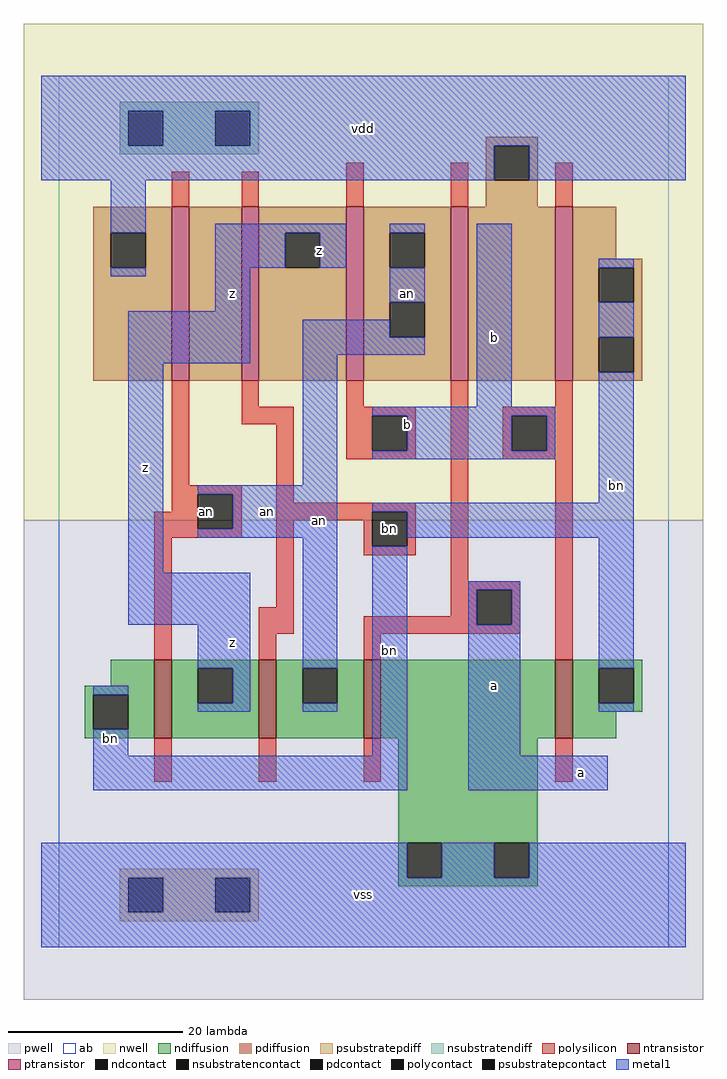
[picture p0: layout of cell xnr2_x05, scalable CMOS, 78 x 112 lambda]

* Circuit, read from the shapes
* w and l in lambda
.subckt xnr2_x05 a an b bn vdd vss z
M1 z an bn vss nfet w=9 l=2
M2 an bn z vss nfet w=9 l=2
M3 vss a an vss nfet w=9 l=2
M4 bn b vss vss nfet w=9 l=2
M5 n1 an vdd vdd pfet w=20 l=2
M6 z bn n1 vdd pfet w=20 l=2
M7 an b z vdd pfet w=20 l=2
M8 vdd a an vdd pfet w=20 l=2
M9 bn b vdd vdd pfet w=20 l=2
.ends

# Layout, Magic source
magic
tech scmos
<< ab >>
rect 0 0 70 100
<< pwell >>
rect -4 -6 74 49
<< nwell >>
rect -4 49 74 106
<< polysilicon >>
rect 13 85 15 89
rect 21 85 23 89
rect 33 85 35 90
rect 45 85 47 90
rect 57 85 59 90
rect 13 53 15 65
rect 21 62 23 65
rect 33 62 35 65
rect 21 60 27 62
rect 13 52 21 53
rect 13 50 16 52
rect 11 48 16 50
rect 20 48 21 52
rect 11 47 21 48
rect 25 51 27 60
rect 33 61 41 62
rect 33 57 36 61
rect 40 57 41 61
rect 33 56 41 57
rect 25 50 41 51
rect 25 49 36 50
rect 11 33 13 47
rect 25 39 27 49
rect 35 46 36 49
rect 40 46 41 50
rect 35 45 41 46
rect 23 36 27 39
rect 45 42 47 65
rect 57 62 59 65
rect 51 61 59 62
rect 51 57 52 61
rect 56 57 59 61
rect 51 56 59 57
rect 45 41 53 42
rect 45 38 48 41
rect 35 37 48 38
rect 52 37 53 41
rect 35 36 53 37
rect 23 33 25 36
rect 35 33 37 36
rect 57 33 59 56
rect 11 19 13 24
rect 23 19 25 24
rect 35 19 37 24
rect 57 19 59 24
<< ndiffusion >>
rect 6 30 11 33
rect 3 29 11 30
rect 3 25 4 29
rect 8 25 11 29
rect 3 24 11 25
rect 13 32 23 33
rect 13 28 16 32
rect 20 28 23 32
rect 13 24 23 28
rect 25 32 35 33
rect 25 28 28 32
rect 32 28 35 32
rect 25 24 35 28
rect 37 24 57 33
rect 59 32 67 33
rect 59 28 62 32
rect 66 28 67 32
rect 59 27 67 28
rect 59 24 64 27
rect 39 12 55 24
rect 39 8 40 12
rect 44 8 50 12
rect 54 8 55 12
rect 39 7 55 8
<< pdiffusion >>
rect 49 92 55 93
rect 49 88 50 92
rect 54 88 55 92
rect 49 85 55 88
rect 4 82 13 85
rect 4 78 6 82
rect 10 78 13 82
rect 4 65 13 78
rect 15 65 21 85
rect 23 82 33 85
rect 23 78 26 82
rect 30 78 33 82
rect 23 65 33 78
rect 35 82 45 85
rect 35 78 38 82
rect 42 78 45 82
rect 35 74 45 78
rect 35 70 38 74
rect 42 70 45 74
rect 35 65 45 70
rect 47 65 57 85
rect 59 79 64 85
rect 59 78 67 79
rect 59 74 62 78
rect 66 74 67 78
rect 59 70 67 74
rect 59 66 62 70
rect 66 66 67 70
rect 59 65 67 66
<< metal1 >>
rect -2 92 72 100
rect -2 88 50 92
rect 54 88 72 92
rect 6 82 10 88
rect 6 77 10 78
rect 18 82 33 83
rect 18 78 26 82
rect 30 78 33 82
rect 38 82 42 83
rect 18 73 22 78
rect 8 67 22 73
rect 38 74 42 78
rect 28 70 38 72
rect 28 68 42 70
rect 8 43 12 67
rect 28 53 32 68
rect 48 62 52 83
rect 62 78 66 79
rect 62 70 66 74
rect 36 61 57 62
rect 40 57 52 61
rect 56 57 57 61
rect 36 56 57 57
rect 16 52 32 53
rect 20 48 32 52
rect 62 51 66 66
rect 16 47 32 48
rect 8 37 22 43
rect 16 32 22 37
rect 4 29 8 30
rect 20 28 22 32
rect 16 27 22 28
rect 28 32 32 47
rect 28 27 32 28
rect 36 50 66 51
rect 40 47 66 50
rect 4 22 8 25
rect 36 22 40 46
rect 4 18 40 22
rect 47 41 53 42
rect 47 37 48 41
rect 52 37 53 41
rect 47 22 53 37
rect 62 32 66 47
rect 62 27 66 28
rect 47 18 63 22
rect -2 8 40 12
rect 44 8 50 12
rect 54 8 72 12
rect -2 0 72 8
<< ntransistor >>
rect 11 24 13 33
rect 23 24 25 33
rect 35 24 37 33
rect 57 24 59 33
<< ptransistor >>
rect 13 65 15 85
rect 21 65 23 85
rect 33 65 35 85
rect 45 65 47 85
rect 57 65 59 85
<< polycontact >>
rect 16 48 20 52
rect 36 57 40 61
rect 36 46 40 50
rect 52 57 56 61
rect 48 37 52 41
<< ndcontact >>
rect 4 25 8 29
rect 16 28 20 32
rect 28 28 32 32
rect 62 28 66 32
rect 40 8 44 12
rect 50 8 54 12
<< pdcontact >>
rect 50 88 54 92
rect 6 78 10 82
rect 26 78 30 82
rect 38 78 42 82
rect 38 70 42 74
rect 62 74 66 78
rect 62 66 66 70
<< psubstratepcontact >>
rect 8 4 12 8
rect 18 4 22 8
<< nsubstratencontact >>
rect 8 92 12 96
rect 18 92 22 96
<< psubstratepdiff >>
rect 7 8 23 9
rect 7 4 8 8
rect 12 4 18 8
rect 22 4 23 8
rect 7 3 23 4
<< nsubstratendiff >>
rect 7 96 23 97
rect 7 92 8 96
rect 12 92 18 96
rect 22 92 23 96
rect 7 91 23 92
<< labels >>
rlabel polycontact 17 50 17 50 6 an
rlabel polycontact 38 48 38 48 6 bn
rlabel metal1 6 24 6 24 6 bn
rlabel metal1 10 55 10 55 6 z
rlabel metal1 10 55 10 55 6 z
rlabel metal1 20 35 20 35 6 z
rlabel metal1 20 35 20 35 6 z
rlabel metal1 30 49 30 49 6 an
rlabel metal1 24 50 24 50 6 an
rlabel metal1 20 75 20 75 6 z
rlabel metal1 20 75 20 75 6 z
rlabel metal1 30 80 30 80 6 z
rlabel metal1 30 80 30 80 6 z
rlabel metal1 35 6 35 6 6 vss
rlabel metal1 35 6 35 6 6 vss
rlabel metal1 50 30 50 30 6 a
rlabel metal1 50 30 50 30 6 a
rlabel metal1 38 34 38 34 6 bn
rlabel metal1 50 70 50 70 6 b
rlabel metal1 40 60 40 60 6 b
rlabel metal1 50 70 50 70 6 b
rlabel metal1 40 60 40 60 6 b
rlabel metal1 40 75 40 75 6 an
rlabel metal1 35 94 35 94 6 vdd
rlabel metal1 35 94 35 94 6 vdd
rlabel metal1 60 20 60 20 6 a
rlabel metal1 60 20 60 20 6 a
rlabel metal1 64 53 64 53 6 bn
<< end >>
